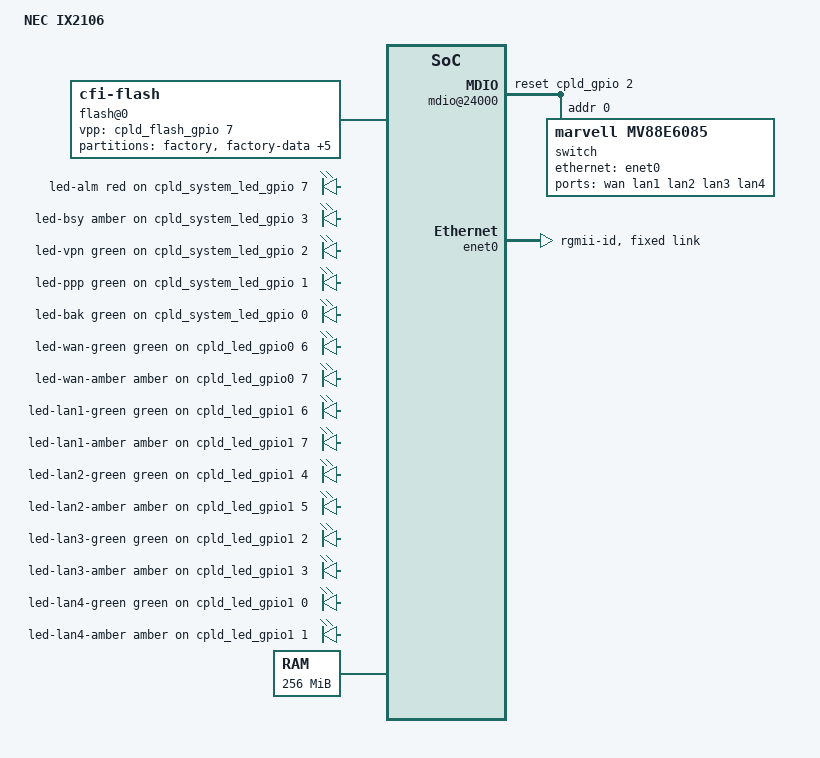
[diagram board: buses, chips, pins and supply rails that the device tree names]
// SPDX-License-Identifier: GPL-2.0-or-later OR MIT

#include <dt-bindings/gpio/gpio.h>
#include <dt-bindings/leds/common.h>

/include/ "fsl/p1010si-pre.dtsi"

/ {
	model = "NEC IX2106";
	compatible = "nec,ix2106";

	/include/ "fsl/p1010rdb_32b.dtsi"

	/*
	 * Publish the passive NOR mapping through the MPC85xx simple-bus
	 * whitelist. The controller's IFC node is disabled during bring-up.
	 */
	flash-bus@fe000000 {
		compatible = "simple-bus";
		reg = <0x0 0xfe000000 0x0 0x02000000>;
		#address-cells = <1>;
		#size-cells = <1>;
		ranges = <0x0 0x0 0xfe000000 0x02000000>;

		flash@0 {
			compatible = "cfi-flash";
			vpp-gpios = <&cpld_flash_gpio 7 GPIO_ACTIVE_HIGH>;
			reg = <0x0 0x02000000>;
			bank-width = <2>;

			partitions {
				compatible = "fixed-partitions";
				#address-cells = <1>;
				#size-cells = <1>;

				factory: partition@0 {
					label = "factory";
					reg = <0x000000 0x020000>;
					read-only;

					nvmem-layout {
						compatible = "fixed-layout";
						#address-cells = <1>;
						#size-cells = <1>;

						mac_ge0: mac-address@10 {
							reg = <0x10 0x6>;
						};

						mac_ge1: mac-address@16 {
							reg = <0x16 0x6>;
						};
					};
				};

				partition@20000 {
					label = "factory-data";
					reg = <0x020000 0x3e0000>;
					read-only;
				};

				partition@400000 {
					label = "firmware";
					reg = <0x400000 0x19c0000>;
					compatible = "fixed-partitions";
					#address-cells = <1>;
					#size-cells = <1>;

					/* Offsets below are relative to firmware. */
					partition@0 {
						label = "kernel";
						reg = <0x000000 0x800000>;
						read-only;
					};

					partition@800000 {
						label = "rootfs-header";
						reg = <0x800000 0x020000>;
						read-only;
					};

					partition@820000 {
						label = "rootfs";
						reg = <0x820000 0x11a0000>;
						linux,rootfs;
					};
				};

				partition@1dc0000 {
					label = "boot-reserved";
					reg = <0x1dc0000 0x240000>;
					read-only;
				};
			};
		};
	};

	chosen {
		bootargs = "console=ttyS0,9600n8 earlycon=uart8250,mmio,0xfd004500 rootfstype=squashfs,jffs2";
		stdout-path = &serial0;
	};

	cpld-bus@fb800000 {
		compatible = "simple-bus";
		reg = <0x0 0xfb800000 0x0 0x100>;
		#address-cells = <1>;
		#size-cells = <1>;
		ranges = <0x0 0x0 0xfb800000 0x100>;

		cpld_gpio: gpio@c {
			compatible = "nec,ix2106-cpld-gpio";
			reg = <0xc 0x1>;
			reg-names = "dat";
			gpio-controller;
			#gpio-cells = <2>;
			ngpios = <3>;
		};

		cpld_flash_gpio: gpio@60 {
			compatible = "nec,ix2106-cpld-gpio";
			reg = <0x60 0x1>;
			reg-names = "dat";
			gpio-controller;
			#gpio-cells = <2>;
			ngpios = <8>;
			gpio-reserved-ranges = <0 7>;
		};

		cpld_system_led_gpio: gpio@78 {
			compatible = "nec,ix2106-cpld-gpio";
			reg = <0x78 0x1>;
			reg-names = "dat";
			gpio-controller;
			#gpio-cells = <2>;
			ngpios = <8>;
			gpio-reserved-ranges = <4 3>;
		};

		/*
		 * GE0 (wan) speed LED: bit 6 = green (100M),
		 * bit 7 = amber (1G).  The remaining bits are not
		 * documented and are kept reserved.
		 */
		cpld_led_gpio0: gpio@7c {
			compatible = "nec,ix2106-cpld-gpio";
			reg = <0x7c 0x1>;
			reg-names = "dat";
			gpio-controller;
			#gpio-cells = <2>;
			ngpios = <8>;
			gpio-reserved-ranges = <0 6>;
		};

		/*
		 * LAN1..LAN4 speed LEDs: one byte at 0x80,
		 * two bits per port (green/amber).
		 */
		cpld_led_gpio1: gpio@80 {
			compatible = "nec,ix2106-cpld-gpio";
			reg = <0x80 0x1>;
			reg-names = "dat";
			gpio-controller;
			#gpio-cells = <2>;
			ngpios = <8>;
		};
	};

	leds {
		compatible = "gpio-leds";

		led-alm {
			color = <LED_COLOR_ID_RED>;
			function = LED_FUNCTION_ALARM;
			gpios = <&cpld_system_led_gpio 7 GPIO_ACTIVE_HIGH>;
		};

		led-bsy {
			color = <LED_COLOR_ID_AMBER>;
			function = LED_FUNCTION_MTD;
			gpios = <&cpld_system_led_gpio 3 GPIO_ACTIVE_HIGH>;
		};

		led-vpn {
			color = <LED_COLOR_ID_GREEN>;
			function = LED_FUNCTION_INDICATOR;
			function-enumerator = <1>;
			gpios = <&cpld_system_led_gpio 2 GPIO_ACTIVE_HIGH>;
		};

		led-ppp {
			color = <LED_COLOR_ID_GREEN>;
			function = LED_FUNCTION_INDICATOR;
			function-enumerator = <2>;
			gpios = <&cpld_system_led_gpio 1 GPIO_ACTIVE_HIGH>;
		};

		led-bak {
			color = <LED_COLOR_ID_GREEN>;
			function = LED_FUNCTION_INDICATOR;
			function-enumerator = <3>;
			gpios = <&cpld_system_led_gpio 0 GPIO_ACTIVE_HIGH>;
		};

		led-wan-green {
			color = <LED_COLOR_ID_GREEN>;
			function = LED_FUNCTION_SPEED_WAN;
			gpios = <&cpld_led_gpio0 6 GPIO_ACTIVE_HIGH>;
		};

		led-wan-amber {
			color = <LED_COLOR_ID_AMBER>;
			function = LED_FUNCTION_SPEED_WAN;
			gpios = <&cpld_led_gpio0 7 GPIO_ACTIVE_HIGH>;
		};

		led-lan1-green {
			color = <LED_COLOR_ID_GREEN>;
			function = LED_FUNCTION_SPEED_LAN;
			function-enumerator = <1>;
			gpios = <&cpld_led_gpio1 6 GPIO_ACTIVE_HIGH>;
		};

		led-lan1-amber {
			color = <LED_COLOR_ID_AMBER>;
			function = LED_FUNCTION_SPEED_LAN;
			function-enumerator = <1>;
			gpios = <&cpld_led_gpio1 7 GPIO_ACTIVE_HIGH>;
		};

		led-lan2-green {
			color = <LED_COLOR_ID_GREEN>;
			function = LED_FUNCTION_SPEED_LAN;
			function-enumerator = <2>;
			gpios = <&cpld_led_gpio1 4 GPIO_ACTIVE_HIGH>;
		};

		led-lan2-amber {
			color = <LED_COLOR_ID_AMBER>;
			function = LED_FUNCTION_SPEED_LAN;
			function-enumerator = <2>;
			gpios = <&cpld_led_gpio1 5 GPIO_ACTIVE_HIGH>;
		};

		led-lan3-green {
			color = <LED_COLOR_ID_GREEN>;
			function = LED_FUNCTION_SPEED_LAN;
			function-enumerator = <3>;
			gpios = <&cpld_led_gpio1 2 GPIO_ACTIVE_HIGH>;
		};

		led-lan3-amber {
			color = <LED_COLOR_ID_AMBER>;
			function = LED_FUNCTION_SPEED_LAN;
			function-enumerator = <3>;
			gpios = <&cpld_led_gpio1 3 GPIO_ACTIVE_HIGH>;
		};

		led-lan4-green {
			color = <LED_COLOR_ID_GREEN>;
			function = LED_FUNCTION_SPEED_LAN;
			function-enumerator = <4>;
			gpios = <&cpld_led_gpio1 0 GPIO_ACTIVE_HIGH>;
		};

		led-lan4-amber {
			color = <LED_COLOR_ID_AMBER>;
			function = LED_FUNCTION_SPEED_LAN;
			function-enumerator = <4>;
			gpios = <&cpld_led_gpio1 1 GPIO_ACTIVE_HIGH>;
		};
	};

	cpus {
		PowerPC,P1010@0 {
			clock-frequency = <800000000>;
			bus-frequency = <400000000>;
			/* Bootstrap uses 50 MHz (400 MHz CSB / 8). */
			timebase-frequency = <50000000>;
		};
	};

	/delete-node/ memory;
	memory@0 {
		device_type = "memory";
		reg = <0x0 0x0 0x0 0x10000000>;
	};
};

/include/ "fsl/p1010si-post.dtsi"

/* CCSR mapping observed in the stock Bootstrap TLB setup. */
&soc {
	reg = <0x0 0xfd000000 0x0 0x100000>;
	ranges = <0x0 0x0 0xfd000000 0x100000>;
	bus-frequency = <400000000>;
};

&serial0 {
	clock-frequency = <400000000>;
};

&serial1 {
	clock-frequency = <400000000>;
};

&soc {
	mdio@24000 {
		reset-gpios = <&cpld_gpio 2 GPIO_ACTIVE_HIGH>;
		reset-delay-us = <12000>;
		reset-post-delay-us = <120000>;
		switch@0 {
			compatible = "marvell,mv88e6085";
			reg = <0>;

			ports {
				#address-cells = <1>;
				#size-cells = <0>;

				port@0 {
					reg = <0>;
					label = "wan";
					nvmem-cells = <&mac_ge0>;
					nvmem-cell-names = "mac-address";

					leds {
						#address-cells = <1>;
						#size-cells = <0>;

						led@0 {
							reg = <0>;
							color = <LED_COLOR_ID_GREEN>;
							function = LED_FUNCTION_WAN;
							default-state = "keep";
						};

						led@1 {
							reg = <1>;
							color = <LED_COLOR_ID_AMBER>;
							function = LED_FUNCTION_WAN;
							default-state = "keep";
						};
					};
				};

				port@1 {
					reg = <1>;
					label = "lan1";

					leds {
						#address-cells = <1>;
						#size-cells = <0>;

						led@0 {
							reg = <0>;
							color = <LED_COLOR_ID_GREEN>;
							function = LED_FUNCTION_LAN;
							function-enumerator = <1>;
							default-state = "keep";
						};

						led@1 {
							reg = <1>;
							color = <LED_COLOR_ID_AMBER>;
							function = LED_FUNCTION_LAN;
							function-enumerator = <1>;
							default-state = "keep";
						};
					};
				};

				port@2 {
					reg = <2>;
					label = "lan2";

					leds {
						#address-cells = <1>;
						#size-cells = <0>;

						led@0 {
							reg = <0>;
							color = <LED_COLOR_ID_GREEN>;
							function = LED_FUNCTION_LAN;
							function-enumerator = <2>;
							default-state = "keep";
						};

						led@1 {
							reg = <1>;
							color = <LED_COLOR_ID_AMBER>;
							function = LED_FUNCTION_LAN;
							function-enumerator = <2>;
							default-state = "keep";
						};
					};
				};

				port@3 {
					reg = <3>;
					label = "lan3";

					leds {
						#address-cells = <1>;
						#size-cells = <0>;

						led@0 {
							reg = <0>;
							color = <LED_COLOR_ID_GREEN>;
							function = LED_FUNCTION_LAN;
							function-enumerator = <3>;
							default-state = "keep";
						};

						led@1 {
							reg = <1>;
							color = <LED_COLOR_ID_AMBER>;
							function = LED_FUNCTION_LAN;
							function-enumerator = <3>;
							default-state = "keep";
						};
					};
				};

				port@4 {
					reg = <4>;
					label = "lan4";

					leds {
						#address-cells = <1>;
						#size-cells = <0>;

						led@0 {
							reg = <0>;
							color = <LED_COLOR_ID_GREEN>;
							function = LED_FUNCTION_LAN;
							function-enumerator = <4>;
							default-state = "keep";
						};

						led@1 {
							reg = <1>;
							color = <LED_COLOR_ID_AMBER>;
							function = LED_FUNCTION_LAN;
							function-enumerator = <4>;
							default-state = "keep";
						};
					};
				};

				port@6 {
					reg = <6>;
					ethernet = <&enet0>;
					phy-mode = "rgmii-id";
					fixed-link {
						speed = <1000>;
						full-duplex;
					};
				};
			};
		};
	};

	/* The IX2106 does not route the inherited P1010 USB controller. */
	usb@22000 {
		compatible = "fsl-usb2-dr";
		status = "disabled";
	};
};

/* These inherited P1010 interfaces are not enabled on this board. */
&ifc {
	status = "disabled";
};

&pci0 {
	status = "disabled";
};

&pci1 {
	status = "disabled";
};

&enet0 {
	reg = <0xb0000 0x1000>;
	phy-mode = "rgmii-id";
	nvmem-cells = <&mac_ge1>;
	nvmem-cell-names = "mac-address";
	status = "okay";
	fixed-link {
		speed = <1000>;
		full-duplex;
	};
};

&enet1 {
	reg = <0xb1000 0x1000>;
	status = "disabled";
};

&enet2 {
	reg = <0xb2000 0x1000>;
	status = "disabled";
};
